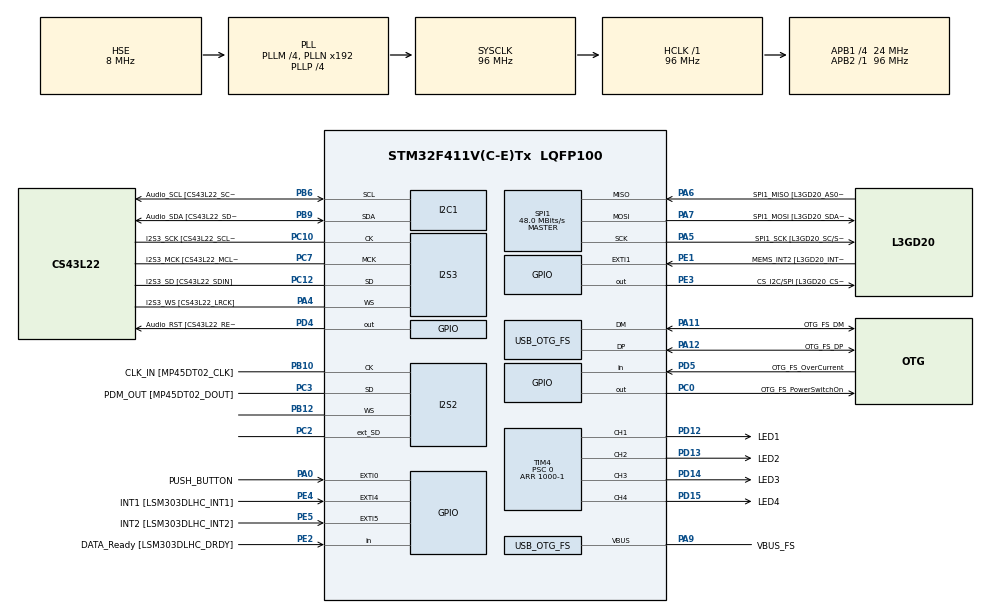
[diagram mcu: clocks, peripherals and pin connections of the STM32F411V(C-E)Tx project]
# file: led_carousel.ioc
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I2S2.AudioFreq=I2S_AUDIOFREQ_96K
I2S2.ErrorAudioFreq=0.15 %
I2S2.FullDuplexMode=I2S_FULLDUPLEXMODE_ENABLE
I2S2.Instance=SPI$Index
I2S2.RealAudioFreq=96.153 KHz
I2S2.VirtualMode=I2S_MODE_MASTER
I2S3.AudioFreq=I2S_AUDIOFREQ_96K
I2S3.ErrorAudioFreq=-6.99 %
I2S3.FullDuplexMode=I2S_FULLDUPLEXMODE_DISABLE
I2S3.Instance=SPI$Index
I2S3.RealAudioFreq=89.285 KHz
I2S3.VirtualMode=I2S_MODE_MASTER
Mcu.Family=STM32F4
Mcu.Name=STM32F411V(C-E)Tx
Mcu.Package=LQFP100
NVIC.EXTI0_IRQn=true\:0\:0\:false\:false\:true\:true\:true\:true
NVIC.OTG_FS_IRQn=true\:0\:0\:false\:false\:true\:true\:true\:true
NVIC.PriorityGroup=NVIC_PRIORITYGROUP_0
PA0-WKUP.GPIO_Label=PUSH_BUTTON
PA0-WKUP.GPIO_ModeDefaultEXTI=GPIO_MODE_IT_RISING_FALLING
PA0-WKUP.Signal=GPXTI0
PA10.GPIO_Label=OTG_FS_ID
PA10.Signal=USB_OTG_FS_ID
PA11.GPIO_Label=OTG_FS_DM
PA11.Mode=Host_Only
PA11.Signal=USB_OTG_FS_DM
PA12.GPIO_Label=OTG_FS_DP
PA12.Mode=Host_Only
PA12.Signal=USB_OTG_FS_DP
PA13.GPIO_Label=SWDIO
PA13.Mode=Serial_Wire
PA13.Signal=SYS_JTMS-SWDIO
PA14.GPIO_Label=SWCLK
PA14.Mode=Serial_Wire
PA14.Signal=SYS_JTCK-SWCLK
PA4.GPIO_Label=I2S3_WS [CS43L22_LRCK]
PA4.GPIO_Mode=GPIO_MODE_AF_PP
PA4.GPIO_PuPd=GPIO_NOPULL
PA4.GPIO_Speed=GPIO_SPEED_FREQ_LOW
PA4.Mode=Half_Duplex_Master
PA4.Signal=I2S3_WS
PA5.GPIO_Label=SPI1_SCK [L3GD20_SC/SPC]
PA5.Mode=Full_Duplex_Master
PA5.Signal=SPI1_SCK
PA6.GPIO_Label=SPI1_MISO [L3GD20_AS0/SDO]
PA6.Mode=Full_Duplex_Master
PA6.Signal=SPI1_MISO
PA7.GPIO_Label=SPI1_MOSI [L3GD20_SDA/SDI/SDO]
PA7.Mode=Full_Duplex_Master
PA7.Signal=SPI1_MOSI
PA9.GPIO_Label=VBUS_FS
PA9.Mode=Activate_VBUS
PA9.Signal=USB_OTG_FS_VBUS
PB10.GPIO_Label=CLK_IN [MP45DT02_CLK]
PB10.Mode=Full_Duplex_Master
PB10.Signal=I2S2_CK
PB12.Mode=Full_Duplex_Master
PB12.Signal=I2S2_WS
PB3.GPIO_Label=SWO
PB3.Signal=SYS_JTDO-SWO
PB6.GPIO_Label=Audio_SCL [CS43L22_SCL]
PB6.GPIO_Mode=GPIO_MODE_AF_OD
PB6.GPIO_Pu=GPIO_PULLUP
PB6.GPIO_PuPd=GPIO_NOPULL
PB6.GPIO_Speed=GPIO_SPEED_FREQ_LOW
PB6.Mode=I2C
PB6.Signal=I2C1_SCL
PB9.GPIO_Label=Audio_SDA [CS43L22_SDA]
PB9.GPIO_Mode=GPIO_MODE_AF_OD
PB9.GPIO_Pu=GPIO_PULLUP
PB9.GPIO_PuPd=GPIO_NOPULL
PB9.GPIO_Speed=GPIO_SPEED_FREQ_LOW
PB9.Mode=I2C
PB9.Signal=I2C1_SDA
PC0.GPIO_Label=OTG_FS_PowerSwitchOn
PC0.PinState=GPIO_PIN_SET
PC0.Signal=GPIO_Output
PC10.GPIO_Label=I2S3_SCK [CS43L22_SCLK]
PC10.GPIO_Mode=GPIO_MODE_AF_PP
PC10.GPIO_PuPd=GPIO_NOPULL
PC10.GPIO_Speed=GPIO_SPEED_FREQ_LOW
PC10.Mode=Half_Duplex_Master
PC10.Signal=I2S3_CK
PC12.GPIO_Label=I2S3_SD [CS43L22_SDIN]
PC12.GPIO_Mode=GPIO_MODE_AF_PP
PC12.GPIO_PuPd=GPIO_NOPULL
PC12.GPIO_Speed=GPIO_SPEED_FREQ_LOW
PC12.Mode=Half_Duplex_Master
PC12.Signal=I2S3_SD
PC14-OSC32_IN.GPIO_Label=PC14-OSC32_IN
PC14-OSC32_IN.Mode=LSE-External-Oscillator
PC14-OSC32_IN.Signal=RCC_OSC32_IN
PC15-OSC32_OUT.GPIO_Label=PC15-OSC32_OUT
PC15-OSC32_OUT.Mode=LSE-External-Oscillator
PC15-OSC32_OUT.Signal=RCC_OSC32_OUT
PC2.Mode=Full_Duplex_Master
PC2.Signal=I2S2_ext_SD
PC3.GPIO_Label=PDM_OUT [MP45DT02_DOUT]
PC3.Mode=Full_Duplex_Master
PC3.Signal=I2S2_SD
PC7.GPIO_Label=I2S3_MCK [CS43L22_MCLK]
PC7.GPIO_Mode=GPIO_MODE_AF_PP
PC7.GPIO_PuPd=GPIO_NOPULL
PC7.GPIO_Speed=GPIO_SPEED_FREQ_LOW
PC7.Mode=Master_Clock_Activated
PC7.Signal=I2S3_MCK
PD12.GPIO_Label=LED1
PD12.Signal=S_TIM4_CH1
PD13.GPIO_Label=LED2
PD13.Signal=S_TIM4_CH2
PD14.GPIO_Label=LED3
PD14.Signal=S_TIM4_CH3
PD15.GPIO_Label=LED4
PD15.Signal=S_TIM4_CH4
PD4.GPIO_Label=Audio_RST [CS43L22_RESET]
PD4.Signal=GPIO_Output
PD5.GPIO_Label=OTG_FS_OverCurrent
PD5.Signal=GPIO_Input
PE1.GPIO_Label=MEMS_INT2 [L3GD20_INT2]
PE1.GPIO_ModeDefaultEXTI=GPIO_MODE_EVT_RISING
PE1.Signal=GPXTI1
PE2.GPIO_Label=DATA_Ready [LSM303DLHC_DRDY]
PE2.Signal=GPIO_Input
PE3.GPIO_Label=CS_I2C/SPI [L3GD20_CS_I2C/SPI]
PE3.Signal=GPIO_Output
PE4.GPIO_Label=INT1 [LSM303DLHC_INT1]
PE4.GPIO_ModeDefaultEXTI=GPIO_MODE_EVT_RISING
PE4.Signal=GPXTI4
PE5.GPIO_Label=INT2 [LSM303DLHC_INT2]
PE5.GPIO_ModeDefaultEXTI=GPIO_MODE_EVT_RISING
PE5.Signal=GPXTI5
PH0\ -\ OSC_IN.GPIO_Label=PH0-OSC_IN
PH0\ -\ OSC_IN.Mode=HSE-External-Oscillator
PH0\ -\ OSC_IN.Signal=RCC_OSC_IN
PH1\ -\ OSC_OUT.GPIO_Label=PH1-OSC_OUT
PH1\ -\ OSC_OUT.Mode=HSE-External-Oscillator
PH1\ -\ OSC_OUT.Signal=RCC_OSC_OUT
ProjectManager.HeapSize=0x200
ProjectManager.StackSize=0x400
ProjectManager.TargetToolchain=STM32CubeIDE
RCC.48MHZClocksFreq_Value=48000000
RCC.AHBFreq_Value=96000000
RCC.APB1CLKDivider=RCC_HCLK_DIV4
RCC.APB1Freq_Value=24000000
RCC.APB1TimFreq_Value=48000000
RCC.APB2Freq_Value=96000000
RCC.APB2TimFreq_Value=96000000
RCC.CortexFreq_Value=96000000
RCC.HCLKFreq_Value=96000000
RCC.HSE_VALUE=8000000
RCC.HSI_VALUE=16000000
RCC.PLLI2SM=5
RCC.PLLI2SN=200
RCC.PLLM=4
RCC.PLLP=RCC_PLLP_DIV4
RCC.PLLQ=8
RCC.SYSCLKFreq_VALUE=96000000
RCC.SYSCLKSource=RCC_SYSCLKSOURCE_PLLCLK
RCC.VCOOutputFreq_Value=384000000
SH.S_TIM4_CH1.0=TIM4_CH1,PWM Generation1 CH1
SH.S_TIM4_CH2.0=TIM4_CH2,PWM Generation2 CH2
SH.S_TIM4_CH3.0=TIM4_CH3,PWM Generation3 CH3
SH.S_TIM4_CH4.0=TIM4_CH4,PWM Generation4 CH4
SPI1.BaudRatePrescaler=SPI_BAUDRATEPRESCALER_2
SPI1.CalculateBaudRate=48.0 MBits/s
SPI1.Direction=SPI_DIRECTION_2LINES
SPI1.Mode=SPI_MODE_MASTER
SPI1.VirtualType=VM_MASTER
TIM4.Channel-PWM\ Generation1\ CH1=TIM_CHANNEL_1
TIM4.Channel-PWM\ Generation2\ CH2=TIM_CHANNEL_2
TIM4.Channel-PWM\ Generation3\ CH3=TIM_CHANNEL_3
TIM4.Channel-PWM\ Generation4\ CH4=TIM_CHANNEL_4
TIM4.Period=1000-1
TIM4.Prescaler=0
USB_HOST.BSP.number=1
USB_HOST.USBH_HandleTypeDef=hUsbHostFS
USB_HOST.VirtualModeFS=Cdc
USB_HOST0.BSP.STBoard=false
USB_HOST0.BSP.api=Unknown
USB_HOST0.BSP.instance=PC0
USB_HOST0.BSP.ip=GPIO
USB_HOST0.BSP.mode=Output
USB_HOST0.BSP.name=Drive_VBUS_FS
USB_HOST0.BSP.solution=PC0
USB_OTG_FS.VirtualMode=Host_Only
USB_OTG_FS.phy_itface=HCD_PHY_EMBEDDED
VP_TIM4_VS_ClockSourceINT.Mode=Internal
VP_USB_HOST_VS_USB_HOST_CDC_FS.Mode=CDC_FS
board=STM32F411E-DISCO

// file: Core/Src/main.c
/* USER CODE BEGIN Header */
/**
  ******************************************************************************
  * @file           : main.c
  * @brief          : Main program body
  ******************************************************************************
  * @attention
  *
  * Copyright (c) 2022 STMicroelectronics.
  * All rights reserved.
  *
  * This software is licensed under terms that can be found in the LICENSE file
  * in the root directory of this software component.
  * If no LICENSE file comes with this software, it is provided AS-IS.
  *
  ******************************************************************************
  */
/* USER CODE END Header */
#include "main.h"
#include "usb_host.h"

/* USER CODE BEGIN Includes */
#include "stdbool.h"
/* USER CODE END Includes */

/* USER CODE BEGIN PD */
#define DEBOUNCE_THRESHOLD 50
#define BRIGHTNESS_STEP TIM4->ARR/20
#define PWM_DELAY 15
/* USER CODE END PD */

I2C_HandleTypeDef hi2c1;

I2S_HandleTypeDef hi2s2;
I2S_HandleTypeDef hi2s3;

SPI_HandleTypeDef hspi1;

TIM_HandleTypeDef htim4;

void SystemClock_Config(void);
void PeriphCommonClock_Config(void);
static void MX_GPIO_Init(void);
static void MX_I2C1_Init(void);
static void MX_I2S2_Init(void);
static void MX_I2S3_Init(void);
static void MX_SPI1_Init(void);
static void MX_TIM4_Init(void);
void MX_USB_HOST_Process(void);

/* USER CODE BEGIN PFP */
volatile bool pressed = false;
volatile bool direction = true; // true - clockwise

void HAL_GPIO_EXTI_Callback(uint16_t GPIO_Pin) {
	if (GPIO_Pin != PUSH_BUTTON_Pin) {
		return;
	}

	static uint32_t last_tick;
	if (HAL_GetTick() - last_tick < DEBOUNCE_THRESHOLD) {
		return;
	}

	last_tick = HAL_GetTick();

	if (pressed) {
		direction = !direction;
	}

	pressed = !pressed;
}
/* USER CODE END PFP */

int main(void)
{
  /* USER CODE BEGIN 1 */
	volatile uint32_t *tim4_ccrx[] = {&TIM4->CCR1, &TIM4->CCR2, &TIM4->CCR3, &TIM4->CCR4};
	static uint8_t curr_led = 0;

	bool get_current_direction() {
		HAL_NVIC_DisableIRQ(PUSH_BUTTON_EXTI_IRQn);
		bool current_direction = direction;
		HAL_NVIC_EnableIRQ(PUSH_BUTTON_EXTI_IRQn);

		return current_direction;
	}

	void run_pwm() {
		volatile uint32_t *led = tim4_ccrx[curr_led];

		for (; *led <= TIM4->ARR; *led += BRIGHTNESS_STEP)
			HAL_Delay(PWM_DELAY);
		for (; *led > 0; *led -= BRIGHTNESS_STEP)
			HAL_Delay(PWM_DELAY);
	}

	void run_carousel () {
		if (get_current_direction()) {
			curr_led = (curr_led + 1) % 4;
		} else {
			curr_led = (curr_led + 3) % 4;
		}

		run_pwm();
	}
  /* USER CODE END 1 */

  /* MCU Configuration--------------------------------------------------------*/

  /* Reset of all peripherals, Initializes the Flash interface and the Systick. */
  HAL_Init();

  /* Configure the system clock */
  SystemClock_Config();

/* Configure the peripherals common clocks */
  PeriphCommonClock_Config();

  /* Initialize all configured peripherals */
  MX_GPIO_Init();
  MX_I2C1_Init();
  MX_I2S2_Init();
  MX_I2S3_Init();
  MX_SPI1_Init();
  MX_USB_HOST_Init();
  MX_TIM4_Init();
  /* USER CODE BEGIN 2 */
  if(HAL_TIM_PWM_Start(&htim4, TIM_CHANNEL_1) != HAL_OK) {
	  Error_Handler();
  }
  if(HAL_TIM_PWM_Start(&htim4, TIM_CHANNEL_2) != HAL_OK) {
	  Error_Handler();
  }
  if(HAL_TIM_PWM_Start(&htim4, TIM_CHANNEL_3) != HAL_OK) {
	  Error_Handler();
  }
  if(HAL_TIM_PWM_Start(&htim4, TIM_CHANNEL_4) != HAL_OK) {
	  Error_Handler();
  }
  /* USER CODE END 2 */

  /* Infinite loop */
  /* USER CODE BEGIN WHILE */
  while (1)
  {
	  run_carousel();
    /* USER CODE END WHILE */
    MX_USB_HOST_Process();

  }
}

void SystemClock_Config(void)
{
  RCC_OscInitTypeDef RCC_OscInitStruct = {0};
  RCC_ClkInitTypeDef RCC_ClkInitStruct = {0};

  /** Configure the main internal regulator output voltage
  */
  __HAL_RCC_PWR_CLK_ENABLE();
  __HAL_PWR_VOLTAGESCALING_CONFIG(PWR_REGULATOR_VOLTAGE_SCALE1);

  /** Initializes the RCC Oscillators according to the specified parameters
  * in the RCC_OscInitTypeDef structure.
  */
  RCC_OscInitStruct.OscillatorType = RCC_OSCILLATORTYPE_HSE;
  RCC_OscInitStruct.HSEState = RCC_HSE_ON;
  RCC_OscInitStruct.PLL.PLLState = RCC_PLL_ON;
  RCC_OscInitStruct.PLL.PLLSource = RCC_PLLSOURCE_HSE;
  RCC_OscInitStruct.PLL.PLLM = 4;
  RCC_OscInitStruct.PLL.PLLN = 192;
  RCC_OscInitStruct.PLL.PLLP = RCC_PLLP_DIV4;
  RCC_OscInitStruct.PLL.PLLQ = 8;
  if (HAL_RCC_OscConfig(&RCC_OscInitStruct) != HAL_OK)
  {
    Error_Handler();
  }

  /** Initializes the CPU, AHB and APB buses clocks
  */
  RCC_ClkInitStruct.ClockType = RCC_CLOCKTYPE_HCLK|RCC_CLOCKTYPE_SYSCLK
                              |RCC_CLOCKTYPE_PCLK1|RCC_CLOCKTYPE_PCLK2;
  RCC_ClkInitStruct.SYSCLKSource = RCC_SYSCLKSOURCE_PLLCLK;
  RCC_ClkInitStruct.AHBCLKDivider = RCC_SYSCLK_DIV1;
  RCC_ClkInitStruct.APB1CLKDivider = RCC_HCLK_DIV4;
  RCC_ClkInitStruct.APB2CLKDivider = RCC_HCLK_DIV1;

  if (HAL_RCC_ClockConfig(&RCC_ClkInitStruct, FLASH_LATENCY_3) != HAL_OK)
  {
    Error_Handler();
  }
}

void PeriphCommonClock_Config(void)
{
  RCC_PeriphCLKInitTypeDef PeriphClkInitStruct = {0};

  /** Initializes the peripherals clock
  */
  PeriphClkInitStruct.PeriphClockSelection = RCC_PERIPHCLK_I2S;
  PeriphClkInitStruct.PLLI2S.PLLI2SN = 200;
  PeriphClkInitStruct.PLLI2S.PLLI2SM = 5;
  PeriphClkInitStruct.PLLI2S.PLLI2SR = 2;
  if (HAL_RCCEx_PeriphCLKConfig(&PeriphClkInitStruct) != HAL_OK)
  {
    Error_Handler();
  }
}

static void MX_I2C1_Init(void)
{

  hi2c1.Instance = I2C1;
  hi2c1.Init.ClockSpeed = 100000;
  hi2c1.Init.DutyCycle = I2C_DUTYCYCLE_2;
  hi2c1.Init.OwnAddress1 = 0;
  hi2c1.Init.AddressingMode = I2C_ADDRESSINGMODE_7BIT;
  hi2c1.Init.DualAddressMode = I2C_DUALADDRESS_DISABLE;
  hi2c1.Init.OwnAddress2 = 0;
  hi2c1.Init.GeneralCallMode = I2C_GENERALCALL_DISABLE;
  hi2c1.Init.NoStretchMode = I2C_NOSTRETCH_DISABLE;
  if (HAL_I2C_Init(&hi2c1) != HAL_OK)
  {
    Error_Handler();
  }

}

static void MX_I2S2_Init(void)
{

  hi2s2.Instance = SPI2;
  hi2s2.Init.Mode = I2S_MODE_MASTER_TX;
  hi2s2.Init.Standard = I2S_STANDARD_PHILIPS;
  hi2s2.Init.DataFormat = I2S_DATAFORMAT_16B;
  hi2s2.Init.MCLKOutput = I2S_MCLKOUTPUT_DISABLE;
  hi2s2.Init.AudioFreq = I2S_AUDIOFREQ_96K;
  hi2s2.Init.CPOL = I2S_CPOL_LOW;
  hi2s2.Init.ClockSource = I2S_CLOCK_PLL;
  hi2s2.Init.FullDuplexMode = I2S_FULLDUPLEXMODE_ENABLE;
  if (HAL_I2S_Init(&hi2s2) != HAL_OK)
  {
    Error_Handler();
  }

}

static void MX_I2S3_Init(void)
{

  hi2s3.Instance = SPI3;
  hi2s3.Init.Mode = I2S_MODE_MASTER_TX;
  hi2s3.Init.Standard = I2S_STANDARD_PHILIPS;
  hi2s3.Init.DataFormat = I2S_DATAFORMAT_16B;
  hi2s3.Init.MCLKOutput = I2S_MCLKOUTPUT_ENABLE;
  hi2s3.Init.AudioFreq = I2S_AUDIOFREQ_96K;
  hi2s3.Init.CPOL = I2S_CPOL_LOW;
  hi2s3.Init.ClockSource = I2S_CLOCK_PLL;
  hi2s3.Init.FullDuplexMode = I2S_FULLDUPLEXMODE_DISABLE;
  if (HAL_I2S_Init(&hi2s3) != HAL_OK)
  {
    Error_Handler();
  }

}

static void MX_SPI1_Init(void)
{

  /* SPI1 parameter configuration*/
  hspi1.Instance = SPI1;
  hspi1.Init.Mode = SPI_MODE_MASTER;
  hspi1.Init.Direction = SPI_DIRECTION_2LINES;
  hspi1.Init.DataSize = SPI_DATASIZE_8BIT;
  hspi1.Init.CLKPolarity = SPI_POLARITY_LOW;
  hspi1.Init.CLKPhase = SPI_PHASE_1EDGE;
  hspi1.Init.NSS = SPI_NSS_SOFT;
  hspi1.Init.BaudRatePrescaler = SPI_BAUDRATEPRESCALER_2;
  hspi1.Init.FirstBit = SPI_FIRSTBIT_MSB;
  hspi1.Init.TIMode = SPI_TIMODE_DISABLE;
  hspi1.Init.CRCCalculation = SPI_CRCCALCULATION_DISABLE;
  hspi1.Init.CRCPolynomial = 10;
  if (HAL_SPI_Init(&hspi1) != HAL_OK)
  {
    Error_Handler();
  }

}

static void MX_TIM4_Init(void)
{

  TIM_ClockConfigTypeDef sClockSourceConfig = {0};
  TIM_MasterConfigTypeDef sMasterConfig = {0};
  TIM_OC_InitTypeDef sConfigOC = {0};

  htim4.Instance = TIM4;
  htim4.Init.Prescaler = 0;
  htim4.Init.CounterMode = TIM_COUNTERMODE_UP;
  htim4.Init.Period = 1000-1;
  htim4.Init.ClockDivision = TIM_CLOCKDIVISION_DIV1;
  htim4.Init.AutoReloadPreload = TIM_AUTORELOAD_PRELOAD_DISABLE;
  if (HAL_TIM_Base_Init(&htim4) != HAL_OK)
  {
    Error_Handler();
  }
  sClockSourceConfig.ClockSource = TIM_CLOCKSOURCE_INTERNAL;
  if (HAL_TIM_ConfigClockSource(&htim4, &sClockSourceConfig) != HAL_OK)
  {
    Error_Handler();
  }
  if (HAL_TIM_PWM_Init(&htim4) != HAL_OK)
  {
    Error_Handler();
  }
  sMasterConfig.MasterOutputTrigger = TIM_TRGO_RESET;
  sMasterConfig.MasterSlaveMode = TIM_MASTERSLAVEMODE_DISABLE;
  if (HAL_TIMEx_MasterConfigSynchronization(&htim4, &sMasterConfig) != HAL_OK)
  {
    Error_Handler();
  }
  sConfigOC.OCMode = TIM_OCMODE_PWM1;
  sConfigOC.Pulse = 0;
  sConfigOC.OCPolarity = TIM_OCPOLARITY_HIGH;
  sConfigOC.OCFastMode = TIM_OCFAST_DISABLE;
  if (HAL_TIM_PWM_ConfigChannel(&htim4, &sConfigOC, TIM_CHANNEL_1) != HAL_OK)
  {
    Error_Handler();
  }
  if (HAL_TIM_PWM_ConfigChannel(&htim4, &sConfigOC, TIM_CHANNEL_2) != HAL_OK)
  {
    Error_Handler();
  }
  if (HAL_TIM_PWM_ConfigChannel(&htim4, &sConfigOC, TIM_CHANNEL_3) != HAL_OK)
  {
    Error_Handler();
  }
  if (HAL_TIM_PWM_ConfigChannel(&htim4, &sConfigOC, TIM_CHANNEL_4) != HAL_OK)
  {
    Error_Handler();
  }
  HAL_TIM_MspPostInit(&htim4);

}

static void MX_GPIO_Init(void)
{
  GPIO_InitTypeDef GPIO_InitStruct = {0};

  /* GPIO Ports Clock Enable */
  __HAL_RCC_GPIOE_CLK_ENABLE();
  __HAL_RCC_GPIOC_CLK_ENABLE();
  __HAL_RCC_GPIOH_CLK_ENABLE();
  __HAL_RCC_GPIOA_CLK_ENABLE();
  __HAL_RCC_GPIOB_CLK_ENABLE();
  __HAL_RCC_GPIOD_CLK_ENABLE();

  /*Configure GPIO pin Output Level */
  HAL_GPIO_WritePin(CS_I2C_SPI_GPIO_Port, CS_I2C_SPI_Pin, GPIO_PIN_RESET);

  /*Configure GPIO pin Output Level */
  HAL_GPIO_WritePin(OTG_FS_PowerSwitchOn_GPIO_Port, OTG_FS_PowerSwitchOn_Pin, GPIO_PIN_SET);

  /*Configure GPIO pin Output Level */
  HAL_GPIO_WritePin(Audio_RST_GPIO_Port, Audio_RST_Pin, GPIO_PIN_RESET);

  /*Configure GPIO pin : DATA_Ready_Pin */
  GPIO_InitStruct.Pin = DATA_Ready_Pin;
  GPIO_InitStruct.Mode = GPIO_MODE_INPUT;
  GPIO_InitStruct.Pull = GPIO_NOPULL;
  HAL_GPIO_Init(DATA_Ready_GPIO_Port, &GPIO_InitStruct);

  /*Configure GPIO pin : CS_I2C_SPI_Pin */
  GPIO_InitStruct.Pin = CS_I2C_SPI_Pin;
  GPIO_InitStruct.Mode = GPIO_MODE_OUTPUT_PP;
  GPIO_InitStruct.Pull = GPIO_NOPULL;
  GPIO_InitStruct.Speed = GPIO_SPEED_FREQ_LOW;
  HAL_GPIO_Init(CS_I2C_SPI_GPIO_Port, &GPIO_InitStruct);

  /*Configure GPIO pins : INT1_Pin INT2_Pin MEMS_INT2_Pin */
  GPIO_InitStruct.Pin = INT1_Pin|INT2_Pin|MEMS_INT2_Pin;
  GPIO_InitStruct.Mode = GPIO_MODE_EVT_RISING;
  GPIO_InitStruct.Pull = GPIO_NOPULL;
  HAL_GPIO_Init(GPIOE, &GPIO_InitStruct);

  /*Configure GPIO pin : OTG_FS_PowerSwitchOn_Pin */
  GPIO_InitStruct.Pin = OTG_FS_PowerSwitchOn_Pin;
  GPIO_InitStruct.Mode = GPIO_MODE_OUTPUT_PP;
  GPIO_InitStruct.Pull = GPIO_NOPULL;
  GPIO_InitStruct.Speed = GPIO_SPEED_FREQ_LOW;
  HAL_GPIO_Init(OTG_FS_PowerSwitchOn_GPIO_Port, &GPIO_InitStruct);

  /*Configure GPIO pin : PUSH_BUTTON_Pin */
  GPIO_InitStruct.Pin = PUSH_BUTTON_Pin;
  GPIO_InitStruct.Mode = GPIO_MODE_IT_RISING_FALLING;
  GPIO_InitStruct.Pull = GPIO_NOPULL;
  HAL_GPIO_Init(PUSH_BUTTON_GPIO_Port, &GPIO_InitStruct);

  /*Configure GPIO pin : Audio_RST_Pin */
  GPIO_InitStruct.Pin = Audio_RST_Pin;
  GPIO_InitStruct.Mode = GPIO_MODE_OUTPUT_PP;
  GPIO_InitStruct.Pull = GPIO_NOPULL;
  GPIO_InitStruct.Speed = GPIO_SPEED_FREQ_LOW;
  HAL_GPIO_Init(Audio_RST_GPIO_Port, &GPIO_InitStruct);

  /*Configure GPIO pin : OTG_FS_OverCurrent_Pin */
  GPIO_InitStruct.Pin = OTG_FS_OverCurrent_Pin;
  GPIO_InitStruct.Mode = GPIO_MODE_INPUT;
  GPIO_InitStruct.Pull = GPIO_NOPULL;
  HAL_GPIO_Init(OTG_FS_OverCurrent_GPIO_Port, &GPIO_InitStruct);

  /* EXTI interrupt init*/
  HAL_NVIC_SetPriority(EXTI0_IRQn, 0, 0);
  HAL_NVIC_EnableIRQ(EXTI0_IRQn);

}

void Error_Handler(void)
{
  __disable_irq();
  while (1)
  {
  }
}
